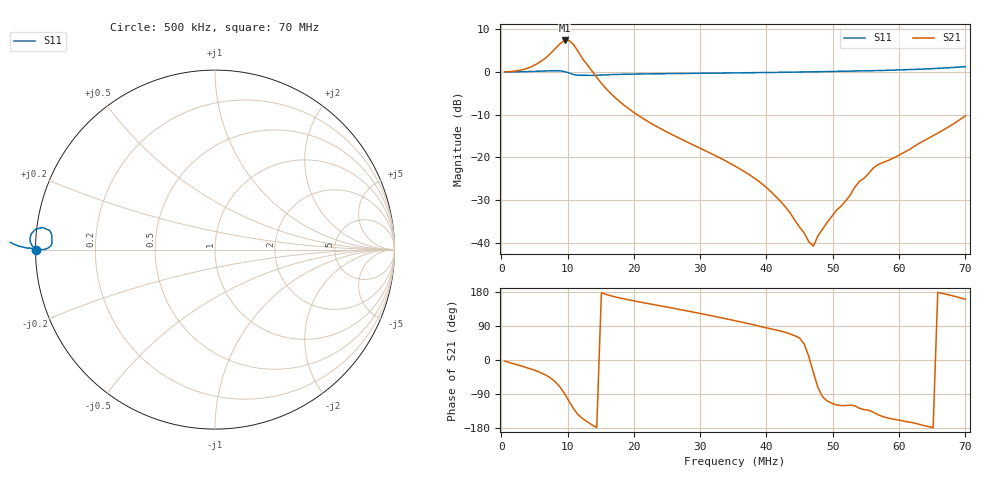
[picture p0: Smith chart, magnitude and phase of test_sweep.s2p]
# HZ S RI R 50
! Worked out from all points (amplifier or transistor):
!   101 points, 500 kHz to 70 MHz, reference 50 ohm
!   highest |S21| = 7.4 dB at 9.535 MHz (marker M1)
!   |S21| within 3 dB of that: 7.455 MHz to 11.76 MHz (4.304 MHz wide, 44.8 % of centre)
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500000  -0.9996 -0.000437  1.002 -0.0506  0 0  0 0
4670000  -1.01 0.0113  1.053 -0.4875  0 0  0 0
6060000  -1.02 0.0217  1.107 -0.7549  0 0  0 0
7450000  -1.029 0.0424  1.112 -1.218  0 0  0 0
8145000  -1.031 0.0601  1.005 -1.582  0 0  0 0
8840000  -1.025 0.0874  0.6963 -2.01  0 0  0 0
9535000  -0.9996 0.1137  0.0595 -2.331  0 0  0 0
1.023e7  -0.9613 0.123  -0.7665 -2.202  0 0  0 0
1.0925e7  -0.9202 0.1069  -1.312 -1.609  0 0  0 0
1.162e7  -0.9087 0.0788  -1.407 -0.989  0 0  0 0
1.2315e7  -0.9085 0.0594  -1.275 -0.5837  0 0  0 0
1.3705e7  -0.9079 0.0339  -1.007 -0.1501  0 0  0 0
1.5095e7  -0.9179 0.0178  -0.7331 0.0375  0 0  0 0
1.857e7  -0.9366 0.00547  -0.3824 0.1304  0 0  0 0
2.413e7  -0.9515 0.000954  -0.1699 0.1305  0 0  0 0
3.525e7  -0.9724 -9.06e-05  -0.0187 0.0766  0 0  0 0
4.22e7  -0.9877 0.000209  0.00717 0.0291  0 0  0 0
4.7065e7  -1.002 0.00215  0.00767 -0.00489  0 0  0 0
4.915e7  -1.008 0.00266  -0.00544 -0.0164  0 0  0 0
5.4015e7  -1.025 0.00702  -0.0317 -0.0414  0 0  0 0
5.888e7  -1.047 0.00923  -0.0869 -0.0401  0 0  0 0
7e7  -1.149 0.0457  -0.2865 0.1036  0 0  0 0
